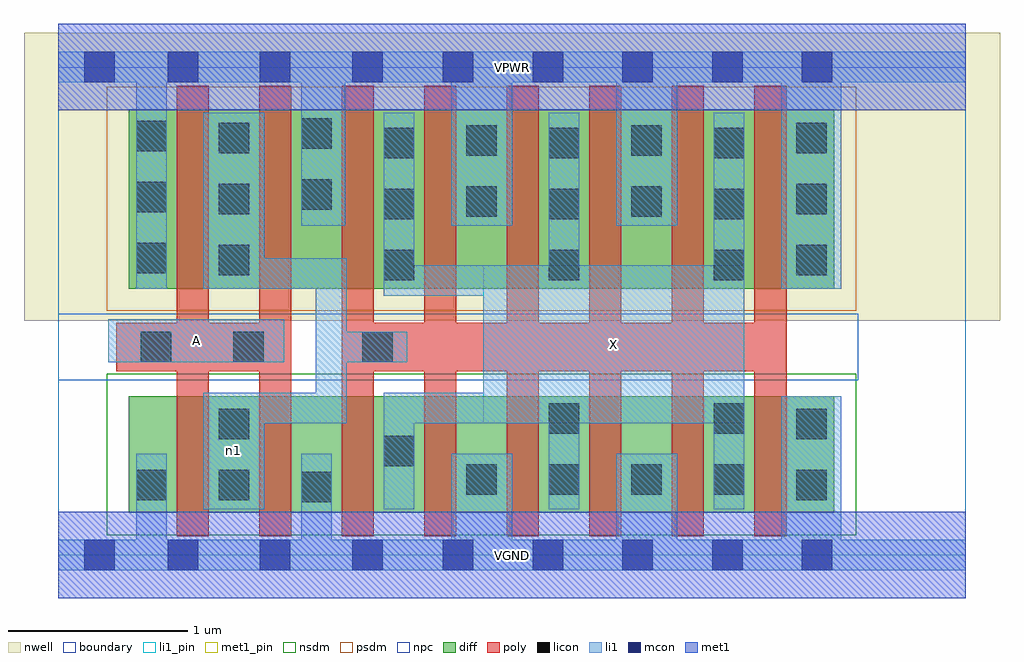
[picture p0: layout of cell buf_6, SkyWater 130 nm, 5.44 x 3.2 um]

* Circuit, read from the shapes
.subckt buf_6 A VGND VPWR X n1
XM1 n1 A VGND VSUBS sky130_fd_pr__nfet_01v8 w=0.65 l=0.18 m=2
XM2 X n1 VGND VSUBS sky130_fd_pr__nfet_01v8 w=0.65 l=0.18 m=6
XM3 n1 A VPWR n2 sky130_fd_pr__pfet_01v8 w=1 l=0.18 m=2
XM4 X n1 VPWR n2 sky130_fd_pr__pfet_01v8 w=1 l=0.18 m=6
.ends

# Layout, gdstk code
import gdstk
lib = gdstk.Library(unit=1e-6, precision=1e-09)
def R(c, l, rs):  # rectangles x0, y0, x1, y1
    for r in rs: c.add(gdstk.rectangle(r[:2], r[2:], *l))
def A(c, l, x, y, w, h, nx, ny, dx, dy):  # array of equal rectangles
    R(c, l, [(x+i*dx, y+j*dy, x+i*dx+w, y+j*dy+h) for i in range(nx) for j in range(ny)])
nwell = (64, 20)
diff = (65, 20)
poly = (66, 20)
licon = (66, 44)
li1_pin = (67, 16)
li1 = (67, 20)
mcon = (67, 44)
met1_pin = (68, 16)
met1 = (68, 20)
nsdm = (93, 44)
psdm = (94, 20)
npc = (95, 20)
boundary = (235, 4)

buf_6 = lib.new_cell('buf_6')
R(buf_6, nwell, [(-0.19,1.305,5.25,2.91), (0,1.305,5.06,2.91)])
R(buf_6, diff, [(0.395,0.235,4.325,0.885), (0.395,1.485,4.325,2.485)])
A(buf_6, poly, 0.66, 0.105, 0.18, 2.51, 8, 1, 0.46, 0)
R(buf_6, poly, [(0.325,1.025,1.3,1.295), (1.58,1.025,4.06,1.295)])
A(buf_6, licon, 2.275, 0.335, 0.17, 0.17, 4, 1, 0.46, 0)
A(buf_6, licon, 1.815, 1.53, 0.17, 0.17, 3, 3, 0.92, 0.34)
A(buf_6, licon, 0.895, 1.56, 0.17, 0.17, 1, 3, 0, 0.34)
A(buf_6, licon, 4.115, 1.56, 0.17, 0.17, 1, 3, 0, 0.34)
A(buf_6, licon, 0.435, 1.57, 0.17, 0.17, 1, 3, 0, 0.34)
R(buf_6, licon, [(1.355,0.295,1.525,0.465), (0.435,0.305,0.605,0.475), (0.895,0.305,1.065,0.475), (4.115,0.305,4.285,0.475), (1.815,0.495,1.985,0.665), (0.895,0.645,1.065,0.815), (4.115,0.645,4.285,0.815), (2.735,0.675,2.905,0.845), (3.655,0.675,3.825,0.845), (0.46,1.075,0.63,1.245), (0.975,1.075,1.145,1.245), (1.695,1.075,1.865,1.245), (2.275,1.885,2.445,2.055), (3.195,1.885,3.365,2.055), (1.355,1.925,1.525,2.095), (2.275,2.225,2.445,2.395), (3.195,2.225,3.365,2.395), (1.355,2.265,1.525,2.435)])
R(buf_6, li1_pin, [(2.37,0.735,3.825,1.615), (0.28,1.075,1.26,1.315)])
R(buf_6, li1, [(0,-0.085,5.06,0.085), (0.435,-0.085,0.605,0.565), (1.355,-0.085,1.525,0.565), (2.19,-0.085,2.53,0.565), (3.11,-0.085,3.45,0.565), (4.03,-0.085,4.365,0.885), (0.81,0.255,1.15,0.905), (1.815,0.255,1.985,0.905), (2.735,0.255,2.905,2.465), (3.655,0.255,3.825,2.465), (0.81,0.735,1.61,0.905), (1.435,0.735,1.61,1.655), (1.815,0.735,3.825,0.905), (2.37,0.735,3.825,1.615), (0.28,1.075,1.26,1.315), (1.435,1.075,1.945,1.245), (1.815,1.445,3.825,1.615), (1.815,1.445,1.985,2.465), (0.435,1.485,0.605,2.805), (0.81,1.485,1.61,1.655), (0.81,1.485,1.15,2.465), (4.03,1.485,4.365,2.805), (1.355,1.835,1.6,2.805), (2.19,1.835,2.53,2.805), (3.11,1.835,3.45,2.805), (0,2.635,5.06,2.805)])
A(buf_6, mcon, 0.61, -0.085, 0.17, 0.17, 3, 2, 0.515, 2.72)
A(buf_6, mcon, 2.145, -0.085, 0.17, 0.17, 5, 2, 0.5, 2.72)
R(buf_6, mcon, [(0.145,-0.085,0.315,0.085), (0.145,2.635,0.315,2.805)])
R(buf_6, met1_pin, [(0,-0.24,5.06,0.24), (0,2.48,5.06,2.96)])
R(buf_6, met1, [(0,-0.24,5.06,0.24), (0,2.48,5.06,2.96)])
R(buf_6, nsdm, [(0.27,0.11,4.45,1.01)])
R(buf_6, psdm, [(0.27,1.36,4.45,2.61)])
R(buf_6, npc, [(0,0.975,4.46,1.345)])
R(buf_6, boundary, [(0,0,5.06,2.72)])
buf_6.add(gdstk.Label('A', (0.77,1.195), layer=67, texttype=5))
buf_6.add(gdstk.Label('X', (3.097,1.175), layer=67, texttype=5))
buf_6.add(gdstk.Label('n1', (0.98,0.58), layer=67, texttype=5))
buf_6.add(gdstk.Label('VPWR', (2.53,2.72), layer=68, texttype=5))
buf_6.add(gdstk.Label('VGND', (2.53,0), layer=68, texttype=5))
buf_6.add(gdstk.Label('A', (0.77,1.195), layer=67, texttype=16))
buf_6.add(gdstk.Label('X', (3.097,1.175), layer=67, texttype=16))
buf_6.add(gdstk.Label('VPWR', (2.53,2.72), layer=68, texttype=16))
buf_6.add(gdstk.Label('VGND', (2.53,0), layer=68, texttype=16))

lib.write_gds('buf_6.gds')
